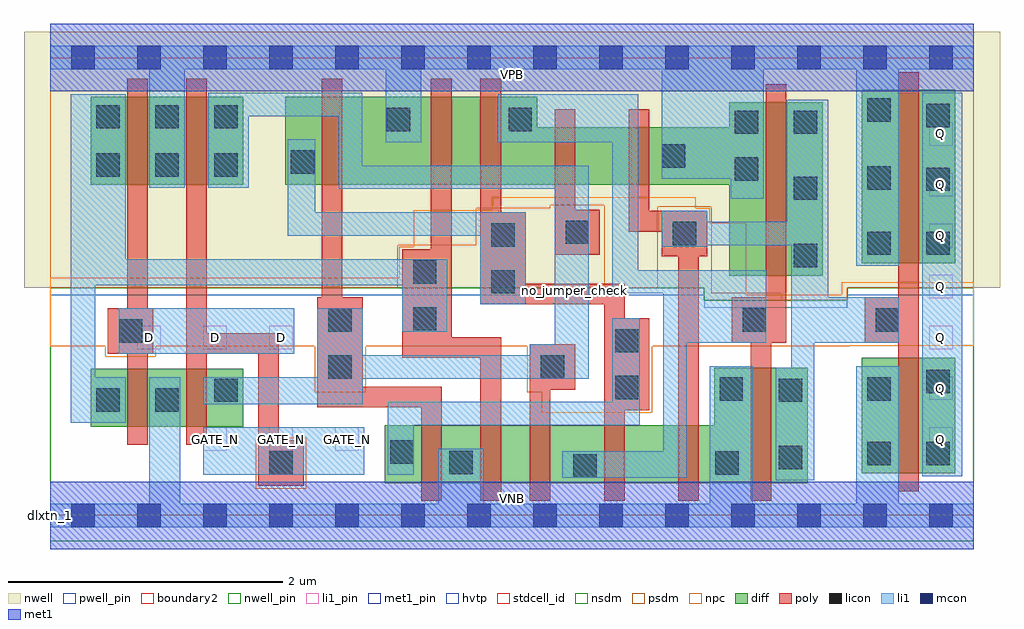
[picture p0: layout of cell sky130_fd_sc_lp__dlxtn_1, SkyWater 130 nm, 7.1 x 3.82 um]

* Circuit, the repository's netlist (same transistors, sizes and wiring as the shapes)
* Copyright 2020 The SkyWater PDK Authors
*
* Licensed under the Apache License, Version 2.0 (the "License");
* you may not use this file except in compliance with the License.
* You may obtain a copy of the License at
*
*     https://www.apache.org/licenses/LICENSE-2.0
*
* Unless required by applicable law or agreed to in writing, software
* distributed under the License is distributed on an "AS IS" BASIS,
* WITHOUT WARRANTIES OR CONDITIONS OF ANY KIND, either express or implied.
* See the License for the specific language governing permissions and
* limitations under the License.
*
* SPDX-License-Identifier: Apache-2.0

.SUBCKT sky130_fd_sc_lp__dlxtn_1 D GATE_N VGND VNB VPB VPWR Q
*.PININFO D:I GATE_N:I VGND:I VNB:I VPB:I VPWR:I Q:O
MI635 clkneg clkpos VPWR VPB sky130_fd_pr__pfet_01v8_hvt m=1 w=0.64U l=0.15U mult=1
+ sa=0.265 sb=0.265 sd=0.28 area=0.063 perim=1.14
MI17 M0 clkneg net51 VPB sky130_fd_pr__pfet_01v8_hvt m=1 w=0.64U l=0.15U mult=1
+ sa=0.265 sb=0.265 sd=0.28 area=0.063 perim=1.14
MI650 Q m1 VPWR VPB sky130_fd_pr__pfet_01v8_hvt m=1 w=1.26U l=0.15U mult=1 sa=0.265
+ sb=0.265 sd=0.28 area=0.063 perim=1.14
MI633 clkpos GATE_N VPWR VPB sky130_fd_pr__pfet_01v8_hvt m=1 w=0.64U l=0.15U mult=1
+ sa=0.265 sb=0.265 sd=0.28 area=0.063 perim=1.14
MI18 net51 db VPWR VPB sky130_fd_pr__pfet_01v8_hvt m=1 w=0.64U l=0.15U mult=1 sa=0.265
+ sb=0.265 sd=0.28 area=0.063 perim=1.14
MI653 net59 m1 VPWR VPB sky130_fd_pr__pfet_01v8_hvt m=1 w=0.42U l=0.15U mult=1
+ sa=0.265 sb=0.265 sd=0.28 area=0.063 perim=1.14
MI651 M0 clkpos net59 VPB sky130_fd_pr__pfet_01v8_hvt m=1 w=0.42U l=0.15U mult=1
+ sa=0.265 sb=0.265 sd=0.28 area=0.063 perim=1.14
MI655 m1 M0 VPWR VPB sky130_fd_pr__pfet_01v8_hvt m=1 w=1.26U l=0.15U mult=1 sa=0.265
+ sb=0.265 sd=0.28 area=0.063 perim=1.14
MI638 db D VPWR VPB sky130_fd_pr__pfet_01v8_hvt m=1 w=0.64U l=0.15U mult=1 sa=0.265
+ sb=0.265 sd=0.28 area=0.063 perim=1.14
MI634 clkpos GATE_N VGND VNB sky130_fd_pr__nfet_01v8 m=1 w=0.42U l=0.15U mult=1
+ sa=0.265 sb=0.265 sd=0.28 area=0.063 perim=1.14
MI649 Q m1 VGND VNB sky130_fd_pr__nfet_01v8 m=1 w=0.84U l=0.15U mult=1 sa=0.265
+ sb=0.265 sd=0.28 area=0.063 perim=1.14
MI652 M0 clkneg net102 VNB sky130_fd_pr__nfet_01v8 m=1 w=0.42U l=0.15U mult=1 sa=0.265
+ sb=0.265 sd=0.28 area=0.063 perim=1.14
MI654 net102 m1 VGND VNB sky130_fd_pr__nfet_01v8 m=1 w=0.42U l=0.15U mult=1 sa=0.265
+ sb=0.265 sd=0.28 area=0.063 perim=1.14
MI656 m1 M0 VGND VNB sky130_fd_pr__nfet_01v8 m=1 w=0.84U l=0.15U mult=1 sa=0.265
+ sb=0.265 sd=0.28 area=0.063 perim=1.14
MI636 clkneg clkpos VGND VNB sky130_fd_pr__nfet_01v8 m=1 w=0.42U l=0.15U mult=1
+ sa=0.265 sb=0.265 sd=0.28 area=0.063 perim=1.14
MI637 db D VGND VNB sky130_fd_pr__nfet_01v8 m=1 w=0.42U l=0.15U mult=1 sa=0.265
+ sb=0.265 sd=0.28 area=0.063 perim=1.14
MI19 M0 clkpos net98 VNB sky130_fd_pr__nfet_01v8 m=1 w=0.42U l=0.15U mult=1 sa=0.265
+ sb=0.265 sd=0.28 area=0.063 perim=1.14
MI20 net98 db VGND VNB sky130_fd_pr__nfet_01v8 m=1 w=0.42U l=0.15U mult=1 sa=0.265
+ sb=0.265 sd=0.28 area=0.063 perim=1.14
.ENDS sky130_fd_sc_lp__dlxtn_1

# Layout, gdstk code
import gdstk
lib = gdstk.Library(unit=1e-6, precision=1e-09)
def R(c, l, rs):  # rectangles x0, y0, x1, y1
    for r in rs: c.add(gdstk.rectangle(r[:2], r[2:], *l))
def A(c, l, x, y, w, h, nx, ny, dx, dy):  # array of equal rectangles
    R(c, l, [(x+i*dx, y+j*dy, x+i*dx+w, y+j*dy+h) for i in range(nx) for j in range(ny)])
def P(c, l, *ps):  # polygons
    for p in ps: c.add(gdstk.Polygon(p, *l))
nwell_pin = (64, 16)
nwell = (64, 20)
diff = (65, 20)
poly = (66, 20)
licon = (66, 44)
li1_pin = (67, 16)
li1 = (67, 20)
mcon = (67, 44)
met1_pin = (68, 16)
met1 = (68, 20)
hvtp = (78, 44)
stdcell_id = (81, 4)
nsdm = (93, 44)
psdm = (94, 20)
npc = (95, 20)
pwell_pin = (122, 16)
boundary2 = (236, 0)

sky130_fd_sc_lp__dlxtn_1 = lib.new_cell('sky130_fd_sc_lp__dlxtn_1')
R(sky130_fd_sc_lp__dlxtn_1, nwell_pin, [(0,3.085,6.72,3.33)])
P(sky130_fd_sc_lp__dlxtn_1, nwell, [(6.91,3.52),(-0.19,3.52),(-0.19,1.655),(4.76,1.655),(4.76,1.565),(5.8,1.565),(5.8,1.655),(6.91,1.655)])
R(sky130_fd_sc_lp__dlxtn_1, diff, [(5.905,0.305,6.585,1.145), (0.295,0.645,1.405,1.065), (5.905,1.835,6.585,3.095), (0.295,2.405,1.405,3.045)])
P(sky130_fd_sc_lp__dlxtn_1, diff, [(5.51,1.075),(4.83,1.075),(4.83,0.655),(2.435,0.655),(2.435,0.235),(5.51,0.235)],
  [(5.62,3.005),(4.94,3.005),(4.94,2.825),(3.545,2.825),(3.545,3.045),(1.71,3.045),(1.71,2.405),(4.94,2.405),(4.94,1.745),(5.62,1.745)])
P(sky130_fd_sc_lp__dlxtn_1, poly, [(0.75,1.505),(0.71,1.505),(0.71,3.175),(0.56,3.175),(0.56,1.505),(0.42,1.505),(0.42,1.175),(0.56,1.175),(0.56,0.515),(0.71,0.515),(0.71,1.175),(0.75,1.175)],
  [(1.845,0.545),(1.665,0.545),(1.665,1.325),(1.14,1.325),(1.14,3.175),(0.99,3.175),(0.99,0.515),(1.14,0.515),(1.14,1.175),(1.515,1.175),(1.515,0.215),(1.845,0.215)],
  [(2.85,0.935),(2.275,0.935),(2.275,1.585),(2.125,1.585),(2.125,3.175),(1.975,3.175),(1.975,1.585),(1.945,1.585),(1.945,0.785),(2.7,0.785),(2.7,0.105),(2.85,0.105)],
  [(3.28,1.295),(2.92,1.295),(2.92,3.175),(2.77,3.175),(2.77,1.935),(2.56,1.935),(2.56,1.145),(3.13,1.145),(3.13,0.105),(3.28,0.105)],
  [(3.82,1.245),(3.49,1.245),(3.49,0.105),(3.64,0.105),(3.64,0.915),(3.82,0.915)],
  [(4,2.225),(3.82,2.225),(3.82,2.955),(3.67,2.955),(3.67,1.895),(4,1.895)],
  [(4.36,1.435),(4.18,1.435),(4.18,1.685),(3.46,1.685),(3.46,2.205),(3.28,2.205),(3.28,3.175),(3.13,3.175),(3.13,1.535),(4.03,1.535),(4.03,0.105),(4.18,0.105),(4.18,0.765),(4.36,0.765)],
  [(4.78,2.215),(4.36,2.215),(4.36,2.955),(4.21,2.955),(4.21,2.065),(4.45,2.065),(4.45,1.885),(4.57,1.885),(4.57,0.105),(4.72,0.105),(4.72,1.885),(4.78,1.885)],
  [(5.355,3.135),(5.205,3.135),(5.205,1.585),(4.96,1.585),(4.96,1.255),(5.095,1.255),(5.095,0.105),(5.245,0.105),(5.245,1.255),(5.355,1.255)],
  [(6.32,3.225),(6.17,3.225),(6.17,1.585),(5.925,1.585),(5.925,1.255),(6.17,1.255),(6.17,0.175),(6.32,0.175)])
A(sky130_fd_sc_lp__dlxtn_1, licon, 6.375, 1.895, 0.17, 0.17, 1, 3, 0, 0.465)
A(sky130_fd_sc_lp__dlxtn_1, licon, 0.335, 2.465, 0.17, 0.17, 3, 2, 0.43, 0.35)
R(sky130_fd_sc_lp__dlxtn_1, licon, [(3.805,0.275,3.975,0.445), (1.595,0.295,1.765,0.465), (4.84,0.295,5.01,0.465), (2.905,0.3,3.075,0.47), (5.3,0.335,5.47,0.505), (5.945,0.365,6.115,0.535), (6.375,0.365,6.545,0.535), (2.475,0.375,2.645,0.545), (0.335,0.755,0.505,0.925), (0.765,0.755,0.935,0.925), (1.195,0.825,1.365,0.995), (5.3,0.825,5.47,0.995), (4.87,0.835,5.04,1.005), (5.945,0.835,6.115,1.005), (4.11,0.845,4.28,1.015), (6.375,0.89,6.545,1.06), (2.025,0.995,2.195,1.165), (3.57,0.995,3.74,1.165), (4.11,1.185,4.28,1.355), (0.5,1.255,0.67,1.425), (2.025,1.335,2.195,1.505), (5.04,1.335,5.21,1.505), (6.005,1.335,6.175,1.505), (2.64,1.345,2.81,1.515), (3.21,1.615,3.38,1.785), (2.64,1.685,2.81,1.855), (5.41,1.805,5.58,1.975), (5.945,1.895,6.115,2.065), (3.21,1.955,3.38,2.125), (4.53,1.965,4.7,2.135), (3.75,1.975,3.92,2.145), (5.41,2.295,5.58,2.465), (5.945,2.37,6.115,2.54), (4.98,2.435,5.15,2.605), (1.75,2.485,1.92,2.655), (4.45,2.53,4.62,2.7), (4.98,2.775,5.15,2.945), (5.41,2.775,5.58,2.945), (2.45,2.795,2.62,2.965), (3.335,2.795,3.505,2.965), (5.945,2.865,6.115,3.035)])
A(sky130_fd_sc_lp__dlxtn_1, li1_pin, 1.115, 0.47, 0.17, 0.17, 3, 1, 0.48, 0)
A(sky130_fd_sc_lp__dlxtn_1, li1_pin, 6.395, 0.47, 0.17, 0.17, 1, 7, 0, 0.37)
A(sky130_fd_sc_lp__dlxtn_1, li1_pin, 0.635, 1.21, 0.17, 0.17, 3, 1, 0.48, 0)
R(sky130_fd_sc_lp__dlxtn_1, li1, [(6.345,0.285,6.635,3.075), (1.115,0.295,2.285,0.64), (0.5,1.175,1.775,1.505)])
P(sky130_fd_sc_lp__dlxtn_1, li1, [(6.175,1.585),(5.66,1.585),(5.66,3.025),(5.36,3.025),(5.36,2.135),(4.78,2.135),(4.78,2.215),(4.45,2.215),(4.45,1.955),(4.78,1.955),(4.78,1.965),(5.39,1.965),(5.39,1.075),(5.28,1.075),(5.28,0.255),(5.56,0.255),(5.56,1.255),(6.175,1.255)],
  [(6.72,3.415),(0,3.415),(0,3.245),(0.72,3.245),(0.72,2.385),(0.98,2.385),(0.98,3.245),(2.44,3.245),(2.44,2.715),(2.7,2.715),(2.7,3.245),(4.45,3.245),(4.45,2.45),(4.95,2.45),(4.95,2.305),(5.19,2.305),(5.19,3.245),(5.865,3.245),(5.865,1.815),(6.175,1.815),(6.175,3.245),(6.72,3.245)],
  [(4.8,0.085),(4.8,1.085),(5.11,1.085),(5.11,0.085),(5.865,0.085),(5.865,1.085),(6.175,1.085),(6.175,0.085),(6.72,0.085),(6.72,-0.085),(0,-0.085),(0,0.085),(0.72,0.085),(0.72,1.005),(0.945,1.005),(0.945,0.085),(2.825,0.085),(2.825,0.485),(3.155,0.485),(3.155,0.085)],
  [(4.28,3.065),(4.28,1.785),(5.21,1.785),(5.21,1.255),(4.63,1.255),(4.63,0.275),(3.725,0.275),(3.725,0.465),(4.46,0.465),(4.46,1.615),(4.09,1.615),(4.09,2.715),(3.255,2.715),(3.255,3.065)],
  [(1.93,2.205),(3.46,2.205),(3.46,1.535),(3.13,1.535),(3.13,2.035),(1.73,2.035),(1.73,2.735),(1.93,2.735)],
  [(0.55,1.865),(2.89,1.865),(2.89,1.335),(2.56,1.335),(2.56,1.675),(0.33,1.675),(0.33,1.005),(0.55,1.005),(0.55,0.675),(0.15,0.675),(0.15,3.065),(0.55,3.065)],
  [(4.09,0.825),(4.09,1.435),(4.29,1.435),(4.29,0.655),(2.645,0.655),(2.645,0.295),(2.455,0.295),(2.455,0.825)],
  [(3.92,2.545),(2.27,2.545),(2.27,3.075),(1.15,3.075),(1.15,2.385),(1.445,2.385),(1.445,2.905),(2.1,2.905),(2.1,2.375),(3.67,2.375),(3.67,1.245),(3.49,1.245),(3.49,1.165),(2.275,1.165),(2.275,1.505),(1.945,1.505),(1.945,1.005),(1.115,1.005),(1.115,0.81),(2.275,0.81),(2.275,0.995),(3.92,0.995)])
A(sky130_fd_sc_lp__dlxtn_1, mcon, 0.155, -0.085, 0.17, 0.17, 14, 2, 0.48, 3.33)
R(sky130_fd_sc_lp__dlxtn_1, met1_pin, [(0,0,6.72,0.245), (0,3.085,6.72,3.33)])
R(sky130_fd_sc_lp__dlxtn_1, met1, [(0,-0.245,6.72,0.245), (0,3.085,6.72,3.575)])
P(sky130_fd_sc_lp__dlxtn_1, hvtp, [(6.72,3.33),(0,3.33),(0,1.6),(4.76,1.6),(4.76,1.51),(5.8,1.51),(5.8,1.6),(6.72,1.6)])
R(sky130_fd_sc_lp__dlxtn_1, stdcell_id, [(0,0,6.72,3.33)])
P(sky130_fd_sc_lp__dlxtn_1, nsdm, [(6.72,1.655),(5.8,1.655),(5.8,1.565),(4.76,1.565),(4.76,1.655),(0,1.655),(0,-0.19),(6.72,-0.19)])
P(sky130_fd_sc_lp__dlxtn_1, psdm, [(6.72,3.52),(0,3.52),(0,1.655),(2.53,1.655),(2.53,1.965),(3.1,1.965),(3.1,2.235),(3.64,2.235),(3.64,2.255),(4.03,2.255),(4.03,1.655),(4.42,1.655),(4.42,2.245),(4.81,2.245),(4.81,1.615),(5.32,1.615),(5.32,1.565),(5.8,1.565),(5.8,1.655),(6.72,1.655)])
R(sky130_fd_sc_lp__dlxtn_1, npc, [(1.495,0.195,1.865,0.565)])
P(sky130_fd_sc_lp__dlxtn_1, npc, [(6.72,1.695),(5.76,1.695),(5.76,1.605),(5.065,1.605),(5.065,2.13),(4.8,2.13),(4.8,2.235),(4.695,2.235),(4.695,2.315),(3.215,2.315),(3.215,2.225),(3.11,2.225),(3.11,2.22),(2.645,2.22),(2.645,1.955),(2.54,1.955),(2.54,1.73),(0,1.73),(0,1.23),(0.4,1.23),(0.4,1.155),(0.77,1.155),(0.77,1.23),(1.925,1.23),(1.925,0.895),(2.295,0.895),(2.295,1.23),(3.47,1.23),(3.47,0.895),(3.575,0.895),(3.575,0.745),(4.38,0.745),(4.38,1.23),(5.815,1.23),(5.815,1.235),(6.72,1.235)])
R(sky130_fd_sc_lp__dlxtn_1, pwell_pin, [(0,0,6.72,0.245)])
R(sky130_fd_sc_lp__dlxtn_1, boundary2, [(0,0,6.72,3.33)])
sky130_fd_sc_lp__dlxtn_1.add(gdstk.Label('VNB', (3.36,0.123), layer=64, texttype=59))
sky130_fd_sc_lp__dlxtn_1.add(gdstk.Label('VPB', (3.36,3.208), layer=64, texttype=5))
sky130_fd_sc_lp__dlxtn_1.add(gdstk.Label('dlxtn_1', (0,0), layer=83, texttype=44))
sky130_fd_sc_lp__dlxtn_1.add(gdstk.Label('no_jumper_check', (3.815,1.635), layer=83, texttype=44))
sky130_fd_sc_lp__dlxtn_1.add(gdstk.Label('VPWR', (3.36,3.208), layer=68, texttype=5))
sky130_fd_sc_lp__dlxtn_1.add(gdstk.Label('VGND', (3.36,0.123), layer=68, texttype=5))
sky130_fd_sc_lp__dlxtn_1.add(gdstk.Label('D', (0.72,1.295), layer=67, texttype=5))
sky130_fd_sc_lp__dlxtn_1.add(gdstk.Label('D', (1.2,1.295), layer=67, texttype=5))
sky130_fd_sc_lp__dlxtn_1.add(gdstk.Label('D', (1.68,1.295), layer=67, texttype=5))
sky130_fd_sc_lp__dlxtn_1.add(gdstk.Label('GATE_N', (1.2,0.555), layer=67, texttype=5))
sky130_fd_sc_lp__dlxtn_1.add(gdstk.Label('GATE_N', (1.68,0.555), layer=67, texttype=5))
sky130_fd_sc_lp__dlxtn_1.add(gdstk.Label('GATE_N', (2.16,0.555), layer=67, texttype=5))
sky130_fd_sc_lp__dlxtn_1.add(gdstk.Label('Q', (6.48,0.555), layer=67, texttype=5))
sky130_fd_sc_lp__dlxtn_1.add(gdstk.Label('Q', (6.48,0.925), layer=67, texttype=5))
sky130_fd_sc_lp__dlxtn_1.add(gdstk.Label('Q', (6.48,1.295), layer=67, texttype=5))
sky130_fd_sc_lp__dlxtn_1.add(gdstk.Label('Q', (6.48,1.665), layer=67, texttype=5))
sky130_fd_sc_lp__dlxtn_1.add(gdstk.Label('Q', (6.48,2.035), layer=67, texttype=5))
sky130_fd_sc_lp__dlxtn_1.add(gdstk.Label('Q', (6.48,2.405), layer=67, texttype=5))
sky130_fd_sc_lp__dlxtn_1.add(gdstk.Label('Q', (6.48,2.775), layer=67, texttype=5))

lib.write_gds('sky130_fd_sc_lp__dlxtn_1.gds')
